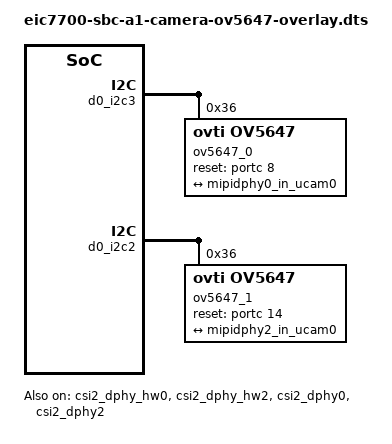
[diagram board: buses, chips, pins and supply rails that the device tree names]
/* SPDX-License-Identifier: GPL-2.0 */
/*
 * Copyright 2026, Beijing ESWIN Computing Technology Co., Ltd.. All rights reserved.
 *
 */

/dts-v1/;
/plugin/;

/ {
	fragment@0 {
		target = <&vi_subsys>;
		__overlay__ {
			phy_mode = <5>;
		};
	};

	fragment@1 {
		target = <&mipi_csi2_0>;
		__overlay__ {
			num_lanes = <2>;
		};
	};

	fragment@2 {
		target = <&mipi_csi2_2>;
		__overlay__ {
			num_lanes = <2>;
		};
	};

	fragment@3 {
		target = <&csi2_dphy_hw0>;
		__overlay__ {
			lanes = <1 2>;
			lanes-dp-dn = <0 0>; 
			status = "okay";
		};
	};

	fragment@4 {
		target = <&csi2_dphy_hw2>;
		__overlay__ {
			lanes = <1 2>;
			lanes-dp-dn = <0 0>; 
			status = "okay";
		};
	};

	fragment@5 {
		target = <&mipidphy0_in_ucam0>;
		__overlay__ {
			remote-endpoint = <&ov5647_out0>;
			data-lanes = <1 2>;
		};
	};

	fragment@6 {
		target = <&mipidphy2_in_ucam0>;
		__overlay__ {
			remote-endpoint = <&ov5647_out1>;
			data-lanes = <1 2>;
		};
	};

	fragment@7 {
		target = <&csi2_dphy0>;
		__overlay__ {
			status = "okay";
		};
	};

	fragment@8 {
		target = <&csi2_dphy2>;
		__overlay__ {
			status = "okay";
		};
	};

	fragment@9 {
		target = <&d0_i2c3>;
		__overlay__ {
			#address-cells = <1>;
			#size-cells = <0>;
			ov5647_0: ov5647_0@36 {
				compatible = "ovti,ov5647";
				status = "okay";
				address-cells = <1>;
				size-cells = <0>;
				reg = <0x36>;
				clocks = <&d0_clock 0x244>;
				assigned-clocks = <&d0_clock 0x244>;
				assigned-clock-rates = <25000000>;
				clock-names = "xclk";
				pinctrl-names = "default";
				pinctrl-0 = <&pinctrl_gpio72_default>;
				reset-gpio = <&portc 8 0>;
				power-domains = <&d0_pmu 2>;

				port {
					ov5647_out0: endpoint {
						remote-endpoint = <&mipidphy0_in_ucam0>;
						data-lanes = <1 2>;
						link-frequencies = /bits/ 64 <109250000>;
					};
				};
			};
		};
	};

	fragment@10 {
		target = <&d0_i2c2>;
		__overlay__ {
			#address-cells = <1>;
			#size-cells = <0>;
			ov5647_1: ov5647_1@36 {
				compatible = "ovti,ov5647";
				status = "okay";
				address-cells = <1>;
				size-cells = <0>;
				reg = <0x36>;
				clocks = <&d0_clock 0x244>;
				assigned-clocks = <&d0_clock 0x244>;
				assigned-clock-rates = <25000000>;
				clock-names = "xclk";
				pinctrl-names = "default";
				pinctrl-0 = <&pinctrl_gpio78_default>;
				reset-gpio = <&portc 14 0>;
				power-domains = <&d0_pmu 2>;

				port {
					ov5647_out1: endpoint {
						remote-endpoint = <&mipidphy2_in_ucam0>;
						data-lanes = <1 2>;
						link-frequencies = /bits/ 64 <109250000>;
					};
				};
			};
		};
	};

	fragment@11 {
		target = <&imx219_0>;
		__overlay__ {
			status="disabled";
		};
	};

	fragment@12 {
		target = <&imx219_1>;
		__overlay__ {
			status="disabled";
		};
	};
};
